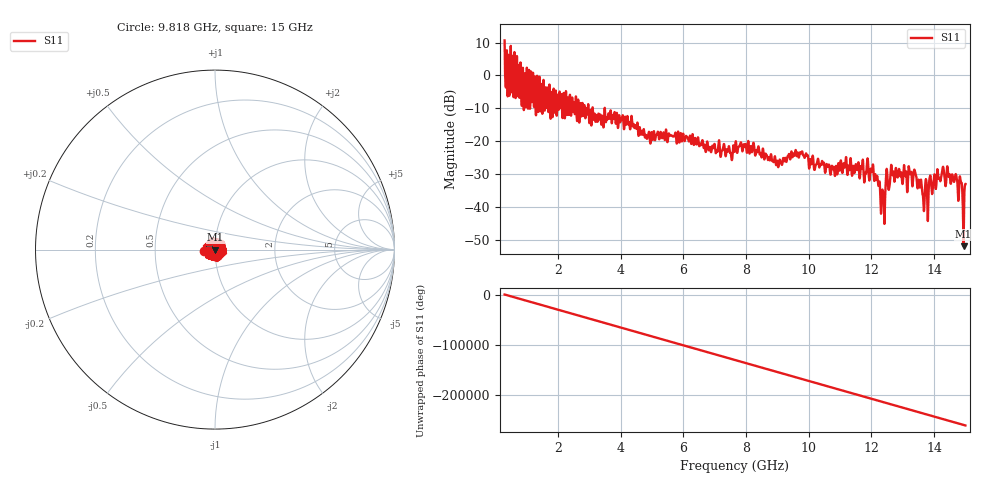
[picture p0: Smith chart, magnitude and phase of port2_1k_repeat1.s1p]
# GHZ S RI R 50.0
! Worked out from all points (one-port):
!   12801 points, 300 MHz to 15 GHz, reference 50 ohm
!   lowest |S11| = -52.0 dB at 14.94 GHz (marker M1), VSWR 1.01, Z = 50.2 - j0.119 ohm
!   |S11| at or under -10 dB: 2.976 GHz to 3.102 GHz (126.3 MHz wide, 4.16 % of centre); 3.111 GHz to 3.491 GHz (379.8 MHz wide, 11.5 % of centre); 3.496 GHz to end of sweep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
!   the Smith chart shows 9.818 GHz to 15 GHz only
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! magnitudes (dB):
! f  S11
! 300 MHz  10.6
! 398.8 MHz  -6.2
! 750.2 MHz  2.6
! 907.5 MHz  -10.1
! 1.203 GHz  0.3
! 1.311 GHz  -11.2
! 2.138 GHz  -11.9
! 3.975 GHz  -13.9
! 4.897 GHz  -17.3
! 5.812 GHz  -19.2
! 7.65 GHz  -22.4
! 8.204 GHz  -22.8
! 9.011 GHz  -27.0
! 9.488 GHz  -24.9
! 10.86 GHz  -29.6
! 11.32 GHz  -26.4
! 12.03 GHz  -28.2
! 12.2 GHz  -31.6
! 12.36 GHz  -35.0
! 12.66 GHz  -29.3
! 13.16 GHz  -33.1
! 13.39 GHz  -29.3
! 13.74 GHz  -31.6
! 14.06 GHz  -34.4
! 14.46 GHz  -30.8
! 14.84 GHz  -31.9
! 14.94 GHz  -52.0
! 15 GHz  -33.0
